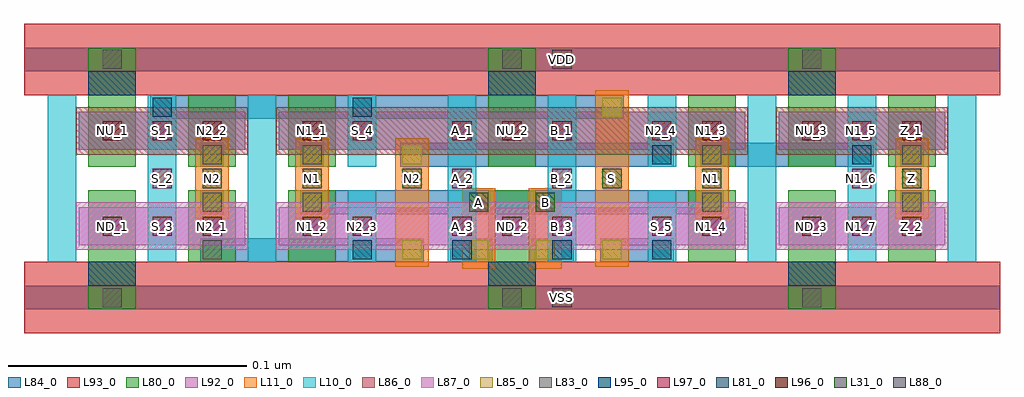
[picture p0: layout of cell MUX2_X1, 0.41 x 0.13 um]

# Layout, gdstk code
import gdstk
lib = gdstk.Library(unit=1e-6, precision=1e-09)
def R(c, l, rs):  # rectangles x0, y0, x1, y1
    for r in rs: c.add(gdstk.rectangle(r[:2], r[2:], *l))
def A(c, l, x, y, w, h, nx, ny, dx, dy):  # array of equal rectangles
    R(c, l, [(x+i*dx, y+j*dy, x+i*dx+w, y+j*dy+h) for i in range(nx) for j in range(ny)])
L10_0 = (10, 0)
L11_0 = (11, 0)
L31_0 = (31, 0)
L80_0 = (80, 0)
L81_0 = (81, 0)
L83_0 = (83, 0)
L84_0 = (84, 0)
L85_0 = (85, 0)
L86_0 = (86, 0)
L87_0 = (87, 0)
L88_0 = (88, 0)
L92_0 = (92, 0)
L93_0 = (93, 0)
L95_0 = (95, 0)
L96_0 = (96, 0)
L97_0 = (97, 0)

mux2_x1 = lib.new_cell('MUX2_X1')
A(mux2_x1, L10_0, -0.027, 0.015, 0.012, 0.07, 3, 1, 0.042, 0)
A(mux2_x1, L10_0, 0.267, 0.015, 0.012, 0.07, 3, 1, 0.042, 0)
R(mux2_x1, L10_0, [(0.099,0.015,0.111,0.045), (0.141,0.015,0.153,0.085), (0.183,0.015,0.195,0.085), (0.225,0.015,0.237,0.045), (0.099,0.055,0.111,0.085), (0.225,0.055,0.237,0.085)])
R(mux2_x1, L11_0, [(0.147,0.012,0.161,0.046), (0.175,0.012,0.189,0.046), (0.119,0.013,0.133,0.047), (0.119,0.013,0.133,0.047), (0.203,0.013,0.217,0.047), (0.203,0.013,0.217,0.047), (0.035,0.033,0.049,0.067), (0.035,0.033,0.049,0.067), (0.077,0.033,0.091,0.067), (0.077,0.033,0.091,0.067), (0.119,0.033,0.133,0.067), (0.119,0.033,0.133,0.067), (0.203,0.033,0.217,0.067), (0.203,0.033,0.217,0.067), (0.245,0.033,0.259,0.067), (0.245,0.033,0.259,0.067), (0.329,0.033,0.343,0.067), (0.329,0.033,0.343,0.067), (0.203,0.053,0.217,0.087), (0.203,0.053,0.217,0.087)])
A(mux2_x1, L31_0, 0.038, 0.046, 0.008, 0.008, 3, 1, 0.042, 0)
R(mux2_x1, L31_0, [(0.15,0.036,0.158,0.044), (0.178,0.036,0.186,0.044), (0.206,0.046,0.214,0.054), (0.248,0.046,0.256,0.054), (0.332,0.046,0.34,0.054)])
A(mux2_x1, L80_0, -0.01, 0.015, 0.02, 0.03, 3, 1, 0.042, 0)
A(mux2_x1, L80_0, 0.242, 0.015, 0.02, 0.03, 3, 1, 0.042, 0)
A(mux2_x1, L80_0, 0.074, 0.055, 0.02, 0.03, 3, 1, 0.084, 0)
R(mux2_x1, L80_0, [(-0.01,-0.005,0.01,0.025), (0.158,-0.005,0.178,0.025), (0.284,-0.005,0.304,0.025), (0.158,0.015,0.178,0.045), (-0.01,0.055,0.01,0.085), (0.032,0.055,0.052,0.085), (0.032,0.055,0.052,0.085), (0.284,0.055,0.304,0.085), (0.326,0.055,0.346,0.085), (-0.01,0.075,0.01,0.105), (0.158,0.075,0.178,0.105), (0.284,0.075,0.304,0.105)])
A(mux2_x1, L81_0, 0.101, 0.016, 0.008, 0.008, 4, 1, 0.042, 0)
R(mux2_x1, L81_0, [(0.101,0.016,0.109,0.024), (0.227,0.016,0.235,0.024), (0.227,0.056,0.235,0.064), (0.227,0.056,0.235,0.064), (0.311,0.056,0.319,0.064), (0.311,0.056,0.319,0.064), (0.017,0.076,0.025,0.084), (0.017,0.076,0.025,0.084), (0.101,0.076,0.109,0.084), (0.101,0.076,0.109,0.084)])
R(mux2_x1, L83_0, [(-0.004,-0.004,0.004,0.004), (0.164,-0.004,0.172,0.004), (0.29,-0.004,0.298,0.004), (0.038,0.016,0.046,0.024), (0.038,0.016,0.046,0.024), (0.038,0.036,0.046,0.044), (0.038,0.036,0.046,0.044), (0.08,0.036,0.088,0.044), (0.08,0.036,0.088,0.044), (0.248,0.036,0.256,0.044), (0.248,0.036,0.256,0.044), (0.332,0.036,0.34,0.044), (0.332,0.036,0.34,0.044), (0.038,0.056,0.046,0.064), (0.038,0.056,0.046,0.064), (0.08,0.056,0.088,0.064), (0.08,0.056,0.088,0.064), (0.248,0.056,0.256,0.064), (0.248,0.056,0.256,0.064), (0.332,0.056,0.34,0.064), (0.332,0.056,0.34,0.064), (-0.004,0.096,0.004,0.104), (0.164,0.096,0.172,0.104), (0.29,0.096,0.298,0.104)])
R(mux2_x1, L84_0, [(-0.037,-0.005,0.373,0.005), (0.037,0.015,0.068,0.025), (0.037,0.015,0.068,0.025), (0.058,0.015,0.089,0.025), (0.058,0.015,0.089,0.025), (0.079,0.015,0.11,0.025), (0.079,0.015,0.11,0.025), (0.1,0.015,0.131,0.025), (0.1,0.015,0.131,0.025), (0.142,0.015,0.16,0.025), (0.175,0.015,0.194,0.025), (0.205,0.015,0.236,0.025), (0.205,0.015,0.236,0.025), (0.037,0.035,0.047,0.045), (0.037,0.035,0.047,0.045), (0.079,0.035,0.11,0.045), (0.079,0.035,0.11,0.045), (0.1,0.035,0.131,0.045), (0.1,0.035,0.131,0.045), (0.121,0.035,0.152,0.045), (0.121,0.035,0.152,0.045), (0.142,0.035,0.173,0.045), (0.142,0.035,0.173,0.045), (0.163,0.035,0.194,0.045), (0.163,0.035,0.194,0.045), (0.184,0.035,0.215,0.045), (0.184,0.035,0.215,0.045), (0.205,0.035,0.236,0.045), (0.205,0.035,0.236,0.045), (0.226,0.035,0.257,0.045), (0.226,0.035,0.257,0.045), (0.331,0.035,0.341,0.045), (0.331,0.035,0.341,0.045), (0.037,0.055,0.047,0.065), (0.037,0.055,0.047,0.065), (0.079,0.055,0.089,0.065), (0.079,0.055,0.089,0.065), (0.121,0.055,0.152,0.065), (0.121,0.055,0.152,0.065), (0.142,0.055,0.173,0.065), (0.142,0.055,0.173,0.065), (0.163,0.055,0.194,0.065), (0.163,0.055,0.194,0.065), (0.184,0.055,0.215,0.065), (0.184,0.055,0.215,0.065), (0.205,0.055,0.236,0.065), (0.205,0.055,0.236,0.065), (0.247,0.055,0.278,0.065), (0.247,0.055,0.278,0.065), (0.268,0.055,0.299,0.065), (0.268,0.055,0.299,0.065), (0.289,0.055,0.32,0.065), (0.289,0.055,0.32,0.065), (0.331,0.055,0.341,0.065), (0.331,0.055,0.341,0.065), (0.016,0.075,0.047,0.085), (0.016,0.075,0.047,0.085), (0.037,0.075,0.068,0.085), (0.037,0.075,0.068,0.085), (0.058,0.075,0.089,0.085), (0.058,0.075,0.089,0.085), (0.079,0.075,0.11,0.085), (0.079,0.075,0.11,0.085), (0.1,0.075,0.131,0.085), (0.1,0.075,0.131,0.085), (0.121,0.075,0.152,0.085), (0.121,0.075,0.152,0.085), (0.142,0.075,0.173,0.085), (0.142,0.075,0.173,0.085), (0.163,0.075,0.194,0.085), (0.163,0.075,0.194,0.085), (0.184,0.075,0.215,0.085), (0.184,0.075,0.215,0.085), (-0.037,0.095,0.373,0.105)])
A(mux2_x1, L85_0, 0.122, 0.016, 0.008, 0.008, 4, 1, 0.028, 0)
R(mux2_x1, L85_0, [(0.122,0.016,0.13,0.024), (0.206,0.016,0.214,0.024), (0.038,0.036,0.046,0.044), (0.038,0.036,0.046,0.044), (0.08,0.036,0.088,0.044), (0.08,0.036,0.088,0.044), (0.248,0.036,0.256,0.044), (0.248,0.036,0.256,0.044), (0.332,0.036,0.34,0.044), (0.332,0.036,0.34,0.044), (0.038,0.056,0.046,0.064), (0.038,0.056,0.046,0.064), (0.08,0.056,0.088,0.064), (0.08,0.056,0.088,0.064), (0.122,0.056,0.13,0.064), (0.122,0.056,0.13,0.064), (0.248,0.056,0.256,0.064), (0.248,0.056,0.256,0.064), (0.332,0.056,0.34,0.064), (0.332,0.056,0.34,0.064), (0.206,0.076,0.214,0.084), (0.206,0.076,0.214,0.084)])
R(mux2_x1, L86_0, [(-0.015,0.06,0.057,0.08), (0.069,0.06,0.267,0.08), (0.279,0.06,0.351,0.08)])
R(mux2_x1, L87_0, [(-0.015,0.02,0.057,0.04), (0.069,0.02,0.267,0.04), (0.279,0.02,0.351,0.04)])
R(mux2_x1, L88_0, [(0.185,-0.004,0.193,0.004), (0.185,0.096,0.193,0.104)])
R(mux2_x1, L92_0, [(-0.014,0.022,0.056,0.038), (0.07,0.022,0.266,0.038), (0.28,0.022,0.35,0.038), (-0.014,0.062,0.056,0.078), (0.07,0.062,0.266,0.078), (0.28,0.062,0.35,0.078)])
R(mux2_x1, L93_0, [(-0.037,-0.015,0.373,0.015), (-0.037,0.085,0.373,0.115)])
R(mux2_x1, L95_0, [(-0.01,0.005,0.01,0.015), (0.158,0.005,0.178,0.015), (0.284,0.005,0.304,0.015), (-0.01,0.085,0.01,0.095), (0.158,0.085,0.178,0.095), (0.284,0.085,0.304,0.095)])
A(mux2_x1, L96_0, -0.004, 0.026, 0.008, 0.008, 3, 2, 0.042, 0.04)
A(mux2_x1, L96_0, 0.248, 0.026, 0.008, 0.008, 3, 2, 0.042, 0.04)
R(mux2_x1, L96_0, [(0.164,0.026,0.172,0.034), (0.164,0.066,0.172,0.074)])
A(mux2_x1, L97_0, 0.017, 0.026, 0.008, 0.008, 1, 3, 0, 0.02)
A(mux2_x1, L97_0, 0.101, 0.026, 0.008, 0.008, 4, 2, 0.042, 0.04)
A(mux2_x1, L97_0, 0.311, 0.026, 0.008, 0.008, 1, 3, 0, 0.02)
R(mux2_x1, L97_0, [(0.143,0.046,0.151,0.054), (0.185,0.046,0.193,0.054)])
mux2_x1.add(gdstk.Label('S_1', (0.021,0.07), layer=97, texttype=0))
mux2_x1.add(gdstk.Label('S_2', (0.021,0.05), layer=97, texttype=0))
mux2_x1.add(gdstk.Label('S_4', (0.105,0.07), layer=97, texttype=0))
mux2_x1.add(gdstk.Label('A_2', (0.147,0.05), layer=97, texttype=0))
mux2_x1.add(gdstk.Label('A_1', (0.147,0.07), layer=97, texttype=0))
mux2_x1.add(gdstk.Label('B_1', (0.189,0.07), layer=97, texttype=0))
mux2_x1.add(gdstk.Label('B_2', (0.189,0.05), layer=97, texttype=0))
mux2_x1.add(gdstk.Label('N2_4', (0.231,0.07), layer=97, texttype=0))
mux2_x1.add(gdstk.Label('N1_5', (0.315,0.07), layer=97, texttype=0))
mux2_x1.add(gdstk.Label('N1_6', (0.315,0.05), layer=97, texttype=0))
mux2_x1.add(gdstk.Label('S_3', (0.021,0.03), layer=97, texttype=0))
mux2_x1.add(gdstk.Label('N2_3', (0.105,0.03), layer=97, texttype=0))
mux2_x1.add(gdstk.Label('A_3', (0.147,0.03), layer=97, texttype=0))
mux2_x1.add(gdstk.Label('B_3', (0.189,0.03), layer=97, texttype=0))
mux2_x1.add(gdstk.Label('S_5', (0.231,0.03), layer=97, texttype=0))
mux2_x1.add(gdstk.Label('N1_7', (0.315,0.03), layer=97, texttype=0))
mux2_x1.add(gdstk.Label('N2_2', (0.042,0.07), layer=96, texttype=0))
mux2_x1.add(gdstk.Label('NU_1', (0,0.07), layer=96, texttype=0))
mux2_x1.add(gdstk.Label('N1_1', (0.084,0.07), layer=96, texttype=0))
mux2_x1.add(gdstk.Label('NU_2', (0.168,0.07), layer=96, texttype=0))
mux2_x1.add(gdstk.Label('N1_3', (0.252,0.07), layer=96, texttype=0))
mux2_x1.add(gdstk.Label('NU_3', (0.294,0.07), layer=96, texttype=0))
mux2_x1.add(gdstk.Label('Z_1', (0.336,0.07), layer=96, texttype=0))
mux2_x1.add(gdstk.Label('ND_1', (0,0.03), layer=96, texttype=0))
mux2_x1.add(gdstk.Label('N2_1', (0.042,0.03), layer=96, texttype=0))
mux2_x1.add(gdstk.Label('N1_2', (0.084,0.03), layer=96, texttype=0))
mux2_x1.add(gdstk.Label('ND_2', (0.168,0.03), layer=96, texttype=0))
mux2_x1.add(gdstk.Label('N1_4', (0.252,0.03), layer=96, texttype=0))
mux2_x1.add(gdstk.Label('ND_3', (0.294,0.03), layer=96, texttype=0))
mux2_x1.add(gdstk.Label('Z_2', (0.336,0.03), layer=96, texttype=0))
mux2_x1.add(gdstk.Label('VDD', (0.189,0.1), layer=88, texttype=0))
mux2_x1.add(gdstk.Label('VSS', (0.189,0), layer=88, texttype=0))
mux2_x1.add(gdstk.Label('N2', (0.042,0.05), layer=31, texttype=0))
mux2_x1.add(gdstk.Label('N1', (0.084,0.05), layer=31, texttype=0))
mux2_x1.add(gdstk.Label('N2', (0.126,0.05), layer=31, texttype=0))
mux2_x1.add(gdstk.Label('S', (0.21,0.05), layer=31, texttype=0))
mux2_x1.add(gdstk.Label('N1', (0.252,0.05), layer=31, texttype=0))
mux2_x1.add(gdstk.Label('Z', (0.336,0.05), layer=31, texttype=0))
mux2_x1.add(gdstk.Label('A', (0.154,0.04), layer=31, texttype=0))
mux2_x1.add(gdstk.Label('B', (0.182,0.04), layer=31, texttype=0))

lib.write_gds('MUX2_X1.gds')
